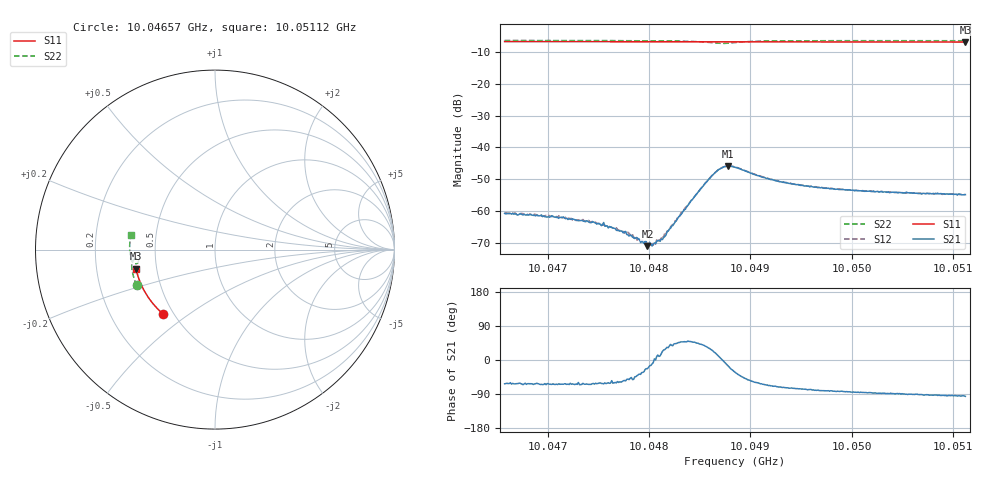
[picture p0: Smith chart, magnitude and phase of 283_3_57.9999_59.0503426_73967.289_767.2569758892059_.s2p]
#  HZ  S  RI  R  50.00
! Rohde & Schwarz Vector Network Analyzer
! Rohde-Schwarz,ZNB20-2Port,1311601062101988,3.16
! Created: UTC 3/21/2024, 1:02:58 AM
! freq[Hz]  re:S11  im:S11  re:S21  im:S21  re:S12  im:S12  re:S22  im:S22
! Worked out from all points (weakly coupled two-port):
!   401 points, 10.04657 GHz to 10.05112 GHz, reference 50 ohm
!   highest |S21| = -45.85 dB at 10.04878 GHz (marker M1); lowest = -71.0 dB at 10.04798 GHz (marker M2)
!   lowest |S11| = -6.9 dB at 10.05112 GHz (marker M3), VSWR 2.66, Z = 19.1 - j5.06 ohm
!   |S11| at or under -10 dB: nowhere
!   |S22| runs from -7.3 to -6.4 dB; largest |S21 - S12| = 0.00035
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1.0046572e10  -0.2898 -0.3586  0.000418 -0.000819  0.000478 -0.000819  -0.4362 -0.1998
1.0047141e10  -0.3175 -0.3329  0.000355 -0.000718  0.000392 -0.000675  -0.4497 -0.1636
1.0047335e10  -0.3262 -0.3235  0.000311 -0.000646  0.000349 -0.000619  -0.4536 -0.151
1.0047562e10  -0.3362 -0.3123  0.000286 -0.000506  0.000284 -0.000525  -0.4579 -0.1353
1.0047665e10  -0.3406 -0.3072  0.000273 -0.000458  0.000313 -0.000451  -0.4593 -0.1283
1.0047744e10  -0.344 -0.3032  0.000263 -0.000371  0.000288 -0.00038  -0.4607 -0.1226
1.0047813e10  -0.3468 -0.2997  0.000278 -0.000313  0.000285 -0.000318  -0.4615 -0.1175
1.0047926e10  -0.3515 -0.2937  0.000278 -0.000181  0.000294 -0.000184  -0.4628 -0.109
1.0047983e10  -0.3539 -0.2907  0.000259 -0.00011  0.000286 -0.000111  -0.4634 -0.1047
1.0048006e10  -0.3548 -0.2896  0.00031 -8.34e-05  0.000296 -6.59e-05  -0.4636 -0.1028
1.004804e10  -0.3561 -0.2877  0.000297 -3.71e-05  0.000293 5.35e-07  -0.4638 -0.1002
1.0048097e10  -0.3584 -0.2847  0.00034 5.7e-05  0.000337 0.000101  -0.4641 -0.0956
1.0048143e10  -0.3602 -0.2824  0.000346 0.000171  0.000341 0.000177  -0.4642 -0.0917
1.0048416e10  -0.3706 -0.2676  0.000981 0.0011  0.000938 0.00112  -0.4598 -0.0663
1.0048609e10  -0.3775 -0.2568  0.00301 0.00159  0.00298 0.0018  -0.4407 -0.0518
1.00487e10  -0.3804 -0.252  0.00458 0.000496  0.00456 0.000798  -0.4279 -0.0585
1.004878e10  -0.3831 -0.2477  0.00492 -0.00137  0.005 -0.00108  -0.4283 -0.0721
1.0048848e10  -0.3854 -0.2439  0.00412 -0.00259  0.00433 -0.00238  -0.4377 -0.0786
1.0049201e10  -0.3971 -0.2239  0.00117 -0.0029  0.00137 -0.00286  -0.4682 -0.0541
1.0049611e10  -0.4091 -0.1998  0.000448 -0.00237  0.000618 -0.00235  -0.4747 -0.0211
1.0050373e10  -0.4275 -0.153  3.32e-05 -0.00195  0.000156 -0.00198  -0.4746 0.0328
1.0051124e10  -0.4404 -0.1056  -0.000186 -0.0018  -5.92e-05 -0.00182  -0.4683 0.0829
